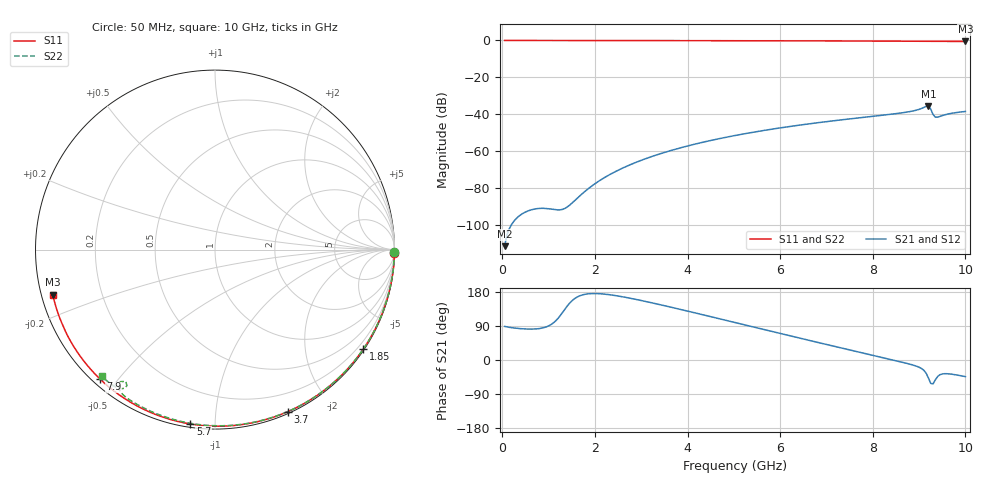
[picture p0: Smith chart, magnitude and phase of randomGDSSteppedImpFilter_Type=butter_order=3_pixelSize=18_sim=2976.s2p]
! freq	dB(S11)	phase(S11)	dB(S12)	phase(S12)
!  dB(S21)	phase(S21)	dB(S22)	phase(S22)
!S-par simulation data
#  GHz  S  DB  R 50
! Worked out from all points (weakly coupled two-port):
!   200 points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, 50 MHz to 10 GHz, reference 50 ohm
!   highest |S21| = -35.55 dB at 9.2 GHz (marker M1); lowest = -111.3 dB at 50 MHz (marker M2)
!   lowest |S11| = -0.6 dB at 10 GHz (marker M3), VSWR 31.34, Z = 1.63 - j6.83 ohm
!   |S11| at or under -10 dB: nowhere
!   |S22| runs from -1.0 to 0.0 dB; largest |S21 - S12| = 0
!   S11 on the Smith chart (normalised r, x): 50 MHz: open; 1.85 GHz: 0.03, -3.29; 3.7 GHz: 0.02, -1.55; 5.7 GHz: 0.02, -0.87; 7.9 GHz: 0.02, -0.45; 10 GHz: 0.03, -0.14
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0.05  -0.00 -0.9  -111.25 88.6  -111.25 88.6  -0.00 -0.8
0.85  -0.02 -15.7  -90.79 84.0  -90.79 84.0  -0.02 -12.9
1.75  -0.04 -32.0  -82.37 172.4  -82.37 172.4  -0.03 -26.4
1.85  -0.04 -33.8  -80.30 174.6  -80.30 174.6  -0.04 -27.9
2.2  -0.05 -40.0  -74.26 173.9  -74.26 173.9  -0.04 -33.0
2.55  -0.06 -46.2  -69.59 167.8  -69.59 167.8  -0.05 -38.1
2.95  -0.07 -53.1  -65.30 158.3  -65.30 158.3  -0.06 -43.9
3.4  -0.08 -60.8  -61.35 146.2  -61.35 146.2  -0.07 -50.2
3.7  -0.09 -65.8  -59.09 137.7  -59.09 137.7  -0.07 -54.4
5.05  -0.13 -87.8  -51.29 98.2  -51.29 98.2  -0.11 -72.7
5.7  -0.16 -98.0  -48.46 79.0  -48.46 79.0  -0.13 -81.2
6.7  -0.22 -113.3  -44.85 49.7  -44.85 49.7  -0.18 -93.8
7.9  -0.31 -131.5  -41.30 15.1  -41.30 15.1  -0.25 -108.3
8.35  -0.36 -138.3  -40.03 2.4  -40.03 2.4  -0.29 -113.8
8.85  -0.41 -146.0  -38.23 -12.7  -38.23 -12.7  -0.34 -120.1
9.05  -0.43 -149.2  -36.81 -22.3  -36.81 -22.3  -0.41 -123.3
9.2  -0.45 -151.6  -35.55 -46.9  -35.55 -46.9  -0.87 -125.6
9.25  -0.46 -152.3  -37.07 -61.6  -37.07 -61.6  -1.04 -124.1
9.3  -0.47 -153.1  -39.93 -63.2  -39.93 -63.2  -0.89 -122.9
9.35  -0.47 -153.9  -41.46 -52.6  -41.46 -52.6  -0.70 -123.1
9.7  -0.51 -159.5  -39.41 -37.4  -39.41 -37.4  -0.47 -128.1
10  -0.55 -164.4  -38.39 -43.8  -38.39 -43.8  -0.48 -131.8
